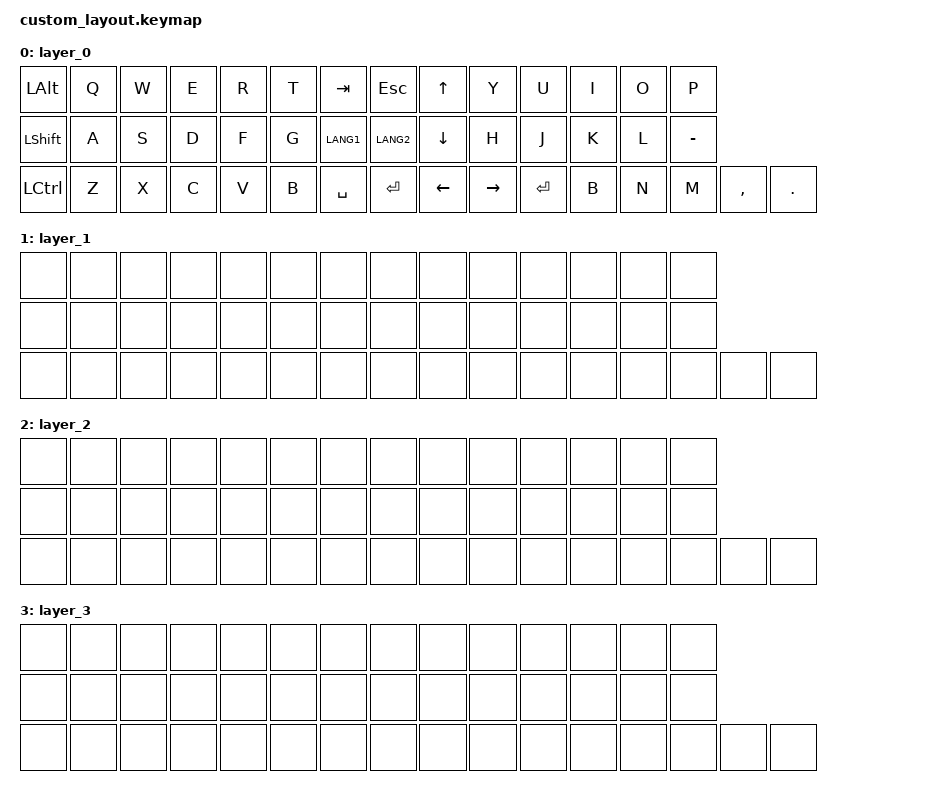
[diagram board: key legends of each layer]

#include <behaviors.dtsi>
#include <dt-bindings/zmk/keys.h>

/ {
    keymap {
        compatible = "zmk,keymap";

        layer_0 {
            bindings =<
                &kp LALT &kp Q &kp W &kp E &kp R &kp T &kp TAB &kp ESC &kp UP &kp Y &kp U &kp I &kp O &kp P
				&kp LSHFT &kp A &kp S &kp D &kp F &kp G &kp LANG1 &kp LANG2 &kp DOWN &kp H &kp J &kp K &kp L &kp MINUS
				&kp LCTRL &kp Z &kp X &kp C &kp V &kp B &kp SPACE &kp ENTER &kp LEFT &kp RIGHT &kp ENTER &kp B &kp N &kp M &kp COMMA &kp DOT
            >;
        };

        layer_1 {
            bindings =<
                &none &none &none &none &none &none &none &none &none &none &none &none &none &none
				&none &none &none &none &none &none &none &none &none &none &none &none &none &none
				&none &none &none &none &none &none &none &none &none &none &none &none &none &none &none &none
            >;
        };

        layer_2 {
            bindings =<
                &none &none &none &none &none &none &none &none &none &none &none &none &none &none
				&none &none &none &none &none &none &none &none &none &none &none &none &none &none
				&none &none &none &none &none &none &none &none &none &none &none &none &none &none &none &none
            >;
        };

        layer_3 {
            bindings =<
                &none &none &none &none &none &none &none &none &none &none &none &none &none &none
				&none &none &none &none &none &none &none &none &none &none &none &none &none &none
				&none &none &none &none &none &none &none &none &none &none &none &none &none &none &none &none
            >;
        };
    };
};
